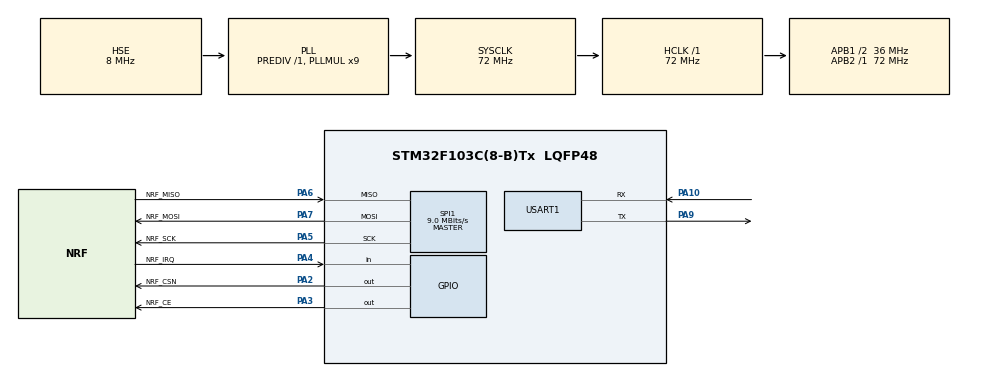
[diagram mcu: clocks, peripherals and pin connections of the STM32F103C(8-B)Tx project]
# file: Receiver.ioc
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Dma.Request0=USART1_RX
Dma.USART1_RX.0.Direction=DMA_PERIPH_TO_MEMORY
Dma.USART1_RX.0.Instance=DMA1_Channel5
Dma.USART1_RX.0.MemDataAlignment=DMA_MDATAALIGN_BYTE
Dma.USART1_RX.0.MemInc=DMA_MINC_ENABLE
Dma.USART1_RX.0.Mode=DMA_NORMAL
Dma.USART1_RX.0.PeriphDataAlignment=DMA_PDATAALIGN_BYTE
Dma.USART1_RX.0.PeriphInc=DMA_PINC_DISABLE
Dma.USART1_RX.0.Priority=DMA_PRIORITY_LOW
Mcu.Family=STM32F1
Mcu.Name=STM32F103C(8-B)Tx
Mcu.Package=LQFP48
NVIC.DMA1_Channel5_IRQn=true\:0\:0\:false\:false\:true\:false\:true
NVIC.PriorityGroup=NVIC_PRIORITYGROUP_4
NVIC.SPI1_IRQn=true\:0\:0\:false\:false\:true\:true\:true
NVIC.USART1_IRQn=true\:0\:0\:false\:false\:true\:true\:true
PA10.Mode=Asynchronous
PA10.Signal=USART1_RX
PA13.Mode=Serial_Wire
PA13.Signal=SYS_JTMS-SWDIO
PA14.Mode=Serial_Wire
PA14.Signal=SYS_JTCK-SWCLK
PA2.GPIO_Label=NRF_CSN
PA2.PinState=GPIO_PIN_SET
PA2.Signal=GPIO_Output
PA3.GPIO_Label=NRF_CE
PA3.PinState=GPIO_PIN_SET
PA3.Signal=GPIO_Output
PA4.GPIO_Label=NRF_IRQ
PA4.GPIO_PuPd=GPIO_PULLUP
PA4.Signal=GPIO_Input
PA5.GPIO_Label=NRF_SCK
PA5.Mode=Full_Duplex_Master
PA5.Signal=SPI1_SCK
PA6.GPIO_Label=NRF_MISO
PA6.Mode=Full_Duplex_Master
PA6.Signal=SPI1_MISO
PA7.GPIO_Label=NRF_MOSI
PA7.Mode=Full_Duplex_Master
PA7.Signal=SPI1_MOSI
PA9.Mode=Asynchronous
PA9.Signal=USART1_TX
PC14-OSC32_IN.Mode=LSE-External-Oscillator
PC14-OSC32_IN.Signal=RCC_OSC32_IN
PC15-OSC32_OUT.Mode=LSE-External-Oscillator
PC15-OSC32_OUT.Signal=RCC_OSC32_OUT
PD0-OSC_IN.Mode=HSE-External-Oscillator
PD0-OSC_IN.Signal=RCC_OSC_IN
PD1-OSC_OUT.Mode=HSE-External-Oscillator
PD1-OSC_OUT.Signal=RCC_OSC_OUT
ProjectManager.HeapSize=0x200
ProjectManager.StackSize=0x400
ProjectManager.TargetToolchain=MDK-ARM V5.27
RCC.AHBFreq_Value=72000000
RCC.APB1CLKDivider=RCC_HCLK_DIV2
RCC.APB1Freq_Value=36000000
RCC.APB1TimFreq_Value=72000000
RCC.APB2Freq_Value=72000000
RCC.APB2TimFreq_Value=72000000
RCC.HCLKFreq_Value=72000000
RCC.PLLMUL=RCC_PLL_MUL9
RCC.PLLSourceVirtual=RCC_PLLSOURCE_HSE
RCC.SYSCLKFreq_VALUE=72000000
RCC.SYSCLKSource=RCC_SYSCLKSOURCE_PLLCLK
RCC.USBFreq_Value=48000000
RCC.USBPrescaler=RCC_USBCLKSOURCE_PLL_DIV1_5
SPI1.BaudRatePrescaler=SPI_BAUDRATEPRESCALER_8
SPI1.CalculateBaudRate=9.0 MBits/s
SPI1.Direction=SPI_DIRECTION_2LINES
SPI1.Mode=SPI_MODE_MASTER
SPI1.VirtualType=VM_MASTER
USART1.VirtualMode=VM_ASYNC
board=custom

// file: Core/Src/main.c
/* USER CODE BEGIN Header */
/**
  ******************************************************************************
  * @file           : main.c
  * @brief          : Main program body
  ******************************************************************************
  * @attention
  *
  * <h2><center>&copy; Copyright (c) 2021 STMicroelectronics.
  * All rights reserved.</center></h2>
  *
  * This software component is licensed by ST under Ultimate Liberty license
  * SLA0044, the "License"; You may not use this file except in compliance with
  * the License. You may obtain a copy of the License at:
  *                             www.st.com/SLA0044
  *
  ******************************************************************************
  */
/* USER CODE END Header */
#include "main.h"
#include "dma.h"
#include "spi.h"
#include "usart.h"
#include "gpio.h"

/* USER CODE BEGIN Includes */
#include "24l01.h"
/* USER CODE END Includes */

/* USER CODE BEGIN PV */
//extern TIM_HandleTypeDef htim4;
/* USER CODE END PV */

void SystemClock_Config(void);

int main(void)
{
  /* USER CODE BEGIN 1 */
  uint16_t i = 0;
  u8 key, mode;
  u16 t = 0;
  u8 tmp_buf[33];
  /* USER CODE END 1 */

  /* MCU Configuration--------------------------------------------------------*/

  /* Reset of all peripherals, Initializes the Flash interface and the Systick. */
  HAL_Init();

  /* Configure the system clock */
  SystemClock_Config();

  /* Initialize all configured peripherals */
  MX_GPIO_Init();
  MX_DMA_Init();
  MX_SPI1_Init();
  MX_USART1_UART_Init();
  /* USER CODE BEGIN 2 */
  //	HAL_TIM_Base_Init(&htim4);
  //	HAL_TIM_PWM_Init(&htim4);

  //	HAL_TIM_PWM_Start(&htim4, TIM_CHANNEL_4);
  //HAL_TIM_PWM_Start(&htim4, TIM_CHANNEL_2);
  //	HAL_TIM_PWM_Start(&htim4, TIM_CHANNEL_3);

  NRF24L01_Init();
  while (NRF24L01_Check())
  {
    //HAL_GPIO_TogglePin(LED_GPIO_Port, LED_Pin);
    HAL_Delay(3000);
    printf("no nrf24l01 device  ");
  }
  //HAL_GPIO_WritePin(LED_GPIO_Port, LED_Pin, 1);
  NRF24L01_RX_Mode();
  while (1)
  {
		HAL_Delay(3000);
    if (NRF24L01_RxPacket(tmp_buf) == 0) //一旦接收到信息,则显示出来.
    {
      printf("receive data success  ");
      tmp_buf[32] = 0; //加入字符串结束符
      HAL_UART_Transmit(&huart1, tmp_buf, 32, 0xFFFF);
      //HAL_GPIO_TogglePin(LED_GPIO_Port, LED_Pin);
    }
  };
  /* USER CODE END 2 */

  /* Infinite loop */
  while (1)
  {

    /* USER CODE BEGIN 3 */
    //		i+=10;
    //		if(i>1000)
    //			i=0;
    //__HAL_TIM_SET_COMPARE(&htim4, TIM_CHANNEL_2, 2000);
    HAL_Delay(10);
  }
  /* USER CODE END 3 */
}

void SystemClock_Config(void)
{
  RCC_OscInitTypeDef RCC_OscInitStruct = {0};
  RCC_ClkInitTypeDef RCC_ClkInitStruct = {0};

  /** Initializes the RCC Oscillators according to the specified parameters
  * in the RCC_OscInitTypeDef structure.
  */
  RCC_OscInitStruct.OscillatorType = RCC_OSCILLATORTYPE_HSE;
  RCC_OscInitStruct.HSEState = RCC_HSE_ON;
  RCC_OscInitStruct.HSEPredivValue = RCC_HSE_PREDIV_DIV1;
  RCC_OscInitStruct.HSIState = RCC_HSI_ON;
  RCC_OscInitStruct.PLL.PLLState = RCC_PLL_ON;
  RCC_OscInitStruct.PLL.PLLSource = RCC_PLLSOURCE_HSE;
  RCC_OscInitStruct.PLL.PLLMUL = RCC_PLL_MUL9;
  if (HAL_RCC_OscConfig(&RCC_OscInitStruct) != HAL_OK)
  {
    Error_Handler();
  }
  /** Initializes the CPU, AHB and APB buses clocks
  */
  RCC_ClkInitStruct.ClockType = RCC_CLOCKTYPE_HCLK | RCC_CLOCKTYPE_SYSCLK | RCC_CLOCKTYPE_PCLK1 | RCC_CLOCKTYPE_PCLK2;
  RCC_ClkInitStruct.SYSCLKSource = RCC_SYSCLKSOURCE_PLLCLK;
  RCC_ClkInitStruct.AHBCLKDivider = RCC_SYSCLK_DIV1;
  RCC_ClkInitStruct.APB1CLKDivider = RCC_HCLK_DIV2;
  RCC_ClkInitStruct.APB2CLKDivider = RCC_HCLK_DIV1;

  if (HAL_RCC_ClockConfig(&RCC_ClkInitStruct, FLASH_LATENCY_2) != HAL_OK)
  {
    Error_Handler();
  }
}

void Error_Handler(void)
{
}

/************************ (C) COPYRIGHT STMicroelectronics *****END OF FILE****/
